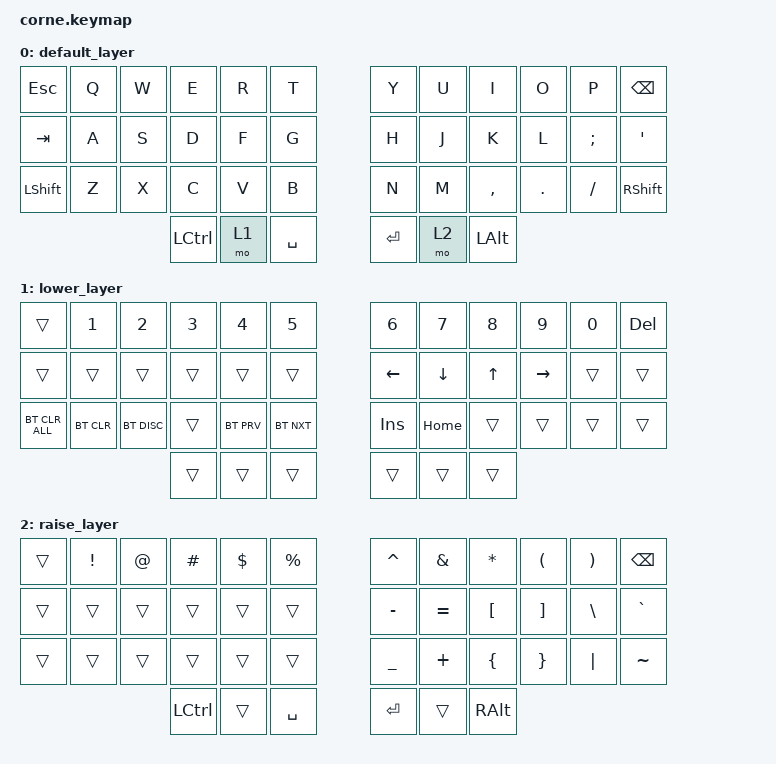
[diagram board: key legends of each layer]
/*
 * Copyright (c) 2020 The ZMK Contributors
 *
 * SPDX-License-Identifier: MIT
 */

#include <behaviors.dtsi>
#include <dt-bindings/zmk/keys.h>
#include <dt-bindings/zmk/bt.h>

/ {
        keymap {
                compatible = "zmk,keymap";

                default_layer {
// -----------------------------------------------------------------------------------------
// |  ESC |  Q  |  W  |  E   |  R  |  T  |   |  Y  |  U   |  I  |  O  |  P  | BKSP |
// |  TAB |  A  |  S  |  D   |  F  |  G  |   |  H  |  J   |  K  |  L  |  ;  | '    |
// | SHFT |  Z  |  X  |  C   |  V  |  B  |   |  N  |  M   |  ,  |  .  |  /  | SHFT |
//                    | CTRL | LWR | SPC |   | ENT | RSE  | ALT |
                        bindings = <
   &kp ESC   &kp Q  &kp W     &kp E     &kp R &kp T       &kp Y   &kp U  &kp I     &kp O   &kp P    &kp BSPC
   &kp TAB   &kp A  &kp S     &kp D     &kp F &kp G       &kp H   &kp J  &kp K     &kp L   &kp SEMI &kp SQT
   &kp LSHFT &kp Z  &kp X     &kp C     &kp V &kp B       &kp N   &kp M  &kp COMMA &kp DOT &kp FSLH &kp RSHFT
                              &kp LCTRL &mo 1 &kp SPACE   &kp RET &mo 2  &kp LALT
                        >;
                };

                lower_layer {
// -----------------------------------------------------------------------------------------
// |  ESC   |  1  |  2  |  3  |  4  |  5  |   |  6  |  7  |  8  |  9  |  0  | DEL  |
// |        |     |     |     |     |     |   | LFT | DWN |  UP | RGT |     |      |
// | BLCLR  | BT1 | BT2 | BT3 | BT4 | BT5 |   | INS | HOM |     |     |     | SHFT |
//                     | CTRL |     | SPC |   | ENT |     | ALT |
                        bindings = <
   &trans         &kp N1     &kp N2      &kp N3 &kp N4     &kp N5     &kp N6   &kp N7   &kp N8 &kp N9    &kp N0 &kp DEL
   &trans         &trans     &trans      &trans &trans     &trans     &kp LEFT &kp DOWN &kp UP &kp RIGHT &trans &trans
   &bt BT_CLR_ALL &bt BT_CLR &bt BT_DISC &trans &bt BT_PRV &bt BT_NXT &kp INS  &kp HOME &trans &trans    &trans &trans
                                         &trans &trans     &trans     &trans   &trans   &trans
                        >;
                };

                raise_layer {
// -----------------------------------------------------------------------------------------
// | ESC  |  !  |  @  |  #   |  $  |  %  |   |  ^  |  &  |  *  |  (  |  )  | BKSP |
// | TAB  |     |     |      |     |     |   |  -  |  =  |  [  |  ]  |  \  |  `   |
// | SHFT |     |     |      |     |     |   |  _  |  +  |  {  |  }  | "|" |  ~   |
//                    | CTRL |     | SPC |   | ENT |     | ALT |
                        bindings = <
   &trans &kp EXCL &kp AT &kp HASH  &kp DLLR &kp PRCNT   &kp CARET &kp AMPS  &kp ASTRK &kp LPAR &kp RPAR &kp BSPC
   &trans &trans   &trans &trans    &trans   &trans      &kp MINUS &kp EQUAL &kp LBKT  &kp RBKT &kp BSLH &kp GRAVE
   &trans &trans   &trans &trans    &trans   &trans      &kp UNDER &kp PLUS  &kp LBRC  &kp RBRC &kp PIPE &kp TILDE
                             &kp LCTRL &trans   &kp SPACE   &kp RET   &trans    &kp RALT
                        >;
                };
        };
};
